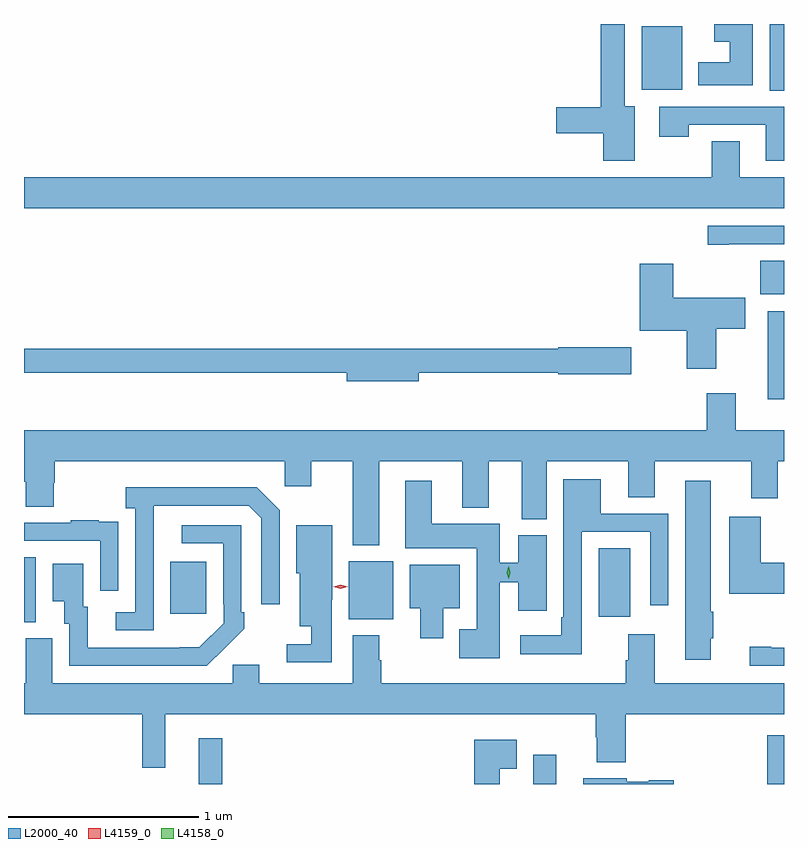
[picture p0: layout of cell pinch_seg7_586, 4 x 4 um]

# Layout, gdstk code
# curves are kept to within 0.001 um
import gdstk
lib = gdstk.Library(unit=1e-6, precision=1e-09)
def R(c, l, rs):  # rectangles x0, y0, x1, y1
    for r in rs: c.add(gdstk.rectangle(r[:2], r[2:], *l))
def P(c, l, *ps):  # polygons
    for p in ps: c.add(gdstk.Polygon(p, *l))
L2000_40 = (2000, 40)
L4158_0 = (4158, 0)
L4159_0 = (4159, 0)

pinch_seg7_586 = lib.new_cell('pinch_seg7_586')
R(pinch_seg7_586, L2000_40, [(167.453,1032.218,167.575,1032.46), (169.211,1032.218,169.333,1032.373), (170.443,1032.218,170.532,1032.474), (166.532,1033.069,166.594,1033.412), (168.242,1033.085,168.475,1033.39), (169.556,1033.098,169.723,1033.46), (167.303,1033.113,167.491,1033.387), (170.447,1034.244,170.532,1034.707), (170.408,1034.795,170.532,1034.971), (170.456,1035.868,170.532,1036.218), (169.784,1035.872,169.996,1036.207)])
P(pinch_seg7_586, L2000_40, [(170.368,1036.218),(170.165,1036.218),(170.165,1036.124),(170.246,1036.124),(170.246,1036.018),(170.081,1036.018),(170.081,1035.896),(170.368,1035.896)],
  [(169.747,1035.784),(169.693,1035.784),(169.693,1036.218),(169.568,1036.218),(169.568,1035.779),(169.332,1035.779),(169.332,1035.644),(169.58,1035.644),(169.58,1035.498),(169.747,1035.498)],
  [(170.532,1035.783),(169.875,1035.783),(169.875,1035.624),(170.031,1035.624),(170.031,1035.687),(170.435,1035.687),(170.435,1035.498),(170.532,1035.498)],
  [(170.532,1035.412),(170.299,1035.412),(170.299,1035.602),(170.152,1035.602),(170.152,1035.412),(166.532,1035.412),(166.532,1035.248),(170.532,1035.248)],
  [(170.242,1035.06),(170.532,1035.06),(170.532,1035.156),(170.13,1035.156),(170.13,1035.055),(170.242,1035.055)],
  [(170.176,1034.614),(170.329,1034.614),(170.329,1034.776),(169.95,1034.776),(169.95,1034.956),(169.772,1034.956),(169.772,1034.603),(170.021,1034.603),(170.021,1034.403),(170.176,1034.403)],
  [(168.61,1034.382),(169.344,1034.382),(169.344,1034.374),(169.729,1034.374),(169.729,1034.516),(169.344,1034.516),(169.344,1034.51),(166.532,1034.51),(166.532,1034.382),(168.23,1034.382),(168.23,1034.339),(168.61,1034.339)],
  [(168.403,1033.916),(168.839,1033.916),(168.839,1033.673),(168.979,1033.673),(168.979,1033.916),(169.151,1033.916),(169.151,1033.612),(169.282,1033.612),(169.282,1033.916),(169.712,1033.916),(169.712,1033.726),(169.852,1033.726),(169.852,1033.916),(170.36,1033.916),(170.36,1033.722),(170.5,1033.722),(170.5,1033.916),(170.532,1033.916),(170.532,1034.08),(170.278,1034.08),(170.278,1034.275),(170.126,1034.275),(170.126,1034.08),(166.532,1034.08),(166.532,1033.81),(166.541,1033.81),(166.541,1033.678),(166.689,1033.678),(166.689,1033.803),(166.694,1033.803),(166.694,1033.916),(167.904,1033.916),(167.904,1033.785),(168.043,1033.785),(168.043,1033.916),(168.263,1033.916),(168.263,1033.475),(168.403,1033.475)],
  [(169.467,1033.545),(169.827,1033.545),(169.827,1033.158),(169.923,1033.158),(169.923,1033.641),(169.567,1033.641),(169.567,1033.822),(169.371,1033.822),(169.371,1033.096),(169.359,1033.096),(169.359,1033),(169.143,1033),(169.143,1032.902),(169.467,1032.902)],
  [(170.146,1032.985),(170.159,1032.985),(170.159,1033.124),(170.146,1033.124),(170.146,1033.813),(170.012,1033.813),(170.012,1032.873),(170.146,1032.873)],
  [(169.036,1033.279),(169.133,1033.279),(169.133,1033.131),(169.282,1033.131),(169.282,1033.527),(169.133,1033.527),(169.133,1033.382),(169.036,1033.382),(169.036,1033.588),(168.679,1033.588),(168.679,1033.813),(168.539,1033.813),(168.539,1033.46),(168.914,1033.46),(168.914,1033.033),(168.824,1033.033),(168.824,1032.881),(169.036,1032.881)],
  [(167.214,1033.483),(167.215,1033.683),(167.715,1033.683),(167.781,1033.617),(167.781,1033.164),(167.877,1033.164),(167.877,1033.659),(167.756,1033.78),(167.067,1033.78),(167.067,1033.67),(167.118,1033.67),(167.118,1033.122),(167.016,1033.122),(167.016,1033.026),(167.214,1033.026)],
  [(170.532,1033.382),(170.41,1033.382),(170.41,1033.624),(170.243,1033.624),(170.243,1033.22),(170.532,1033.22)],
  [(167.028,1033.49),(167.027,1033.49),(167.027,1033.599),(166.925,1033.599),(166.925,1033.606),(166.777,1033.606),(166.777,1033.593),(166.532,1033.593),(166.532,1033.497),(166.932,1033.497),(166.932,1033.236),(167.028,1033.236)],
  [(167.585,1032.931),(167.586,1032.93),(167.691,1033.035),(167.691,1033.123),(167.676,1033.123),(167.676,1033.581),(167.361,1033.581),(167.361,1033.485),(167.58,1033.485),(167.58,1033.165),(167.583,1033.165),(167.583,1033.065),(167.455,1032.937),(166.867,1032.936),(166.867,1033.152),(166.843,1033.152),(166.843,1033.378),(166.682,1033.378),(166.682,1033.181),(166.745,1033.181),(166.745,1033.062),(166.77,1033.062),(166.77,1032.84),(167.494,1032.84)],
  [(168.153,1033.189),(168.154,1033.189),(168.154,1033.579),(167.966,1033.579),(167.966,1033.326),(167.984,1033.326),(167.984,1033.049),(168.045,1033.049),(168.045,1032.954),(167.916,1032.954),(167.916,1032.858),(168.153,1032.858)],
  [(168.739,1033.142),(168.826,1033.142),(168.826,1033.372),(168.563,1033.372),(168.563,1033.142),(168.617,1033.142),(168.617,1032.984),(168.739,1032.984)],
  [(167.275,1032.584),(169.54,1032.584),(169.54,1032.464),(169.547,1032.464),(169.547,1032.332),(169.7,1032.332),(169.7,1032.584),(170.532,1032.584),(170.532,1032.748),(169.852,1032.748),(169.852,1033.006),(169.712,1033.006),(169.712,1032.869),(169.7,1032.869),(169.7,1032.748),(168.411,1032.748),(168.411,1032.869),(168.403,1032.869),(168.403,1033),(168.263,1033),(168.263,1032.748),(167.77,1032.748),(167.77,1032.846),(167.631,1032.846),(167.631,1032.748),(166.681,1032.748),(166.681,1032.984),(166.541,1032.984),(166.541,1032.748),(166.532,1032.748),(166.532,1032.584),(167.154,1032.584),(167.154,1032.303),(167.275,1032.303)],
  [(170.532,1032.936),(170.464,1032.936),(170.464,1032.941),(170.352,1032.941),(170.352,1032.84),(170.532,1032.84)],
  [(169.036,1032.299),(169.126,1032.299),(169.126,1032.451),(168.902,1032.451),(168.902,1032.218),(169.036,1032.218)],
  [(169.951,1032.237),(169.821,1032.237),(169.821,1032.229),(169.704,1032.229),(169.704,1032.247),(169.475,1032.247),(169.475,1032.218),(169.951,1032.218)])
P(pinch_seg7_586, L4158_0, [(169.082,1033.299),(169.082,1033.299),(169.072,1033.331),(169.082,1033.363),(169.082,1033.363),(169.082,1033.363),(169.092,1033.331),(169.082,1033.299)])
P(pinch_seg7_586, L4159_0, [(168.198,1033.246),(168.159,1033.256),(168.159,1033.256),(168.159,1033.256),(168.198,1033.266),(168.236,1033.256),(168.236,1033.256),(168.236,1033.256)])

lib.write_gds('pinch_seg7_586.gds')
